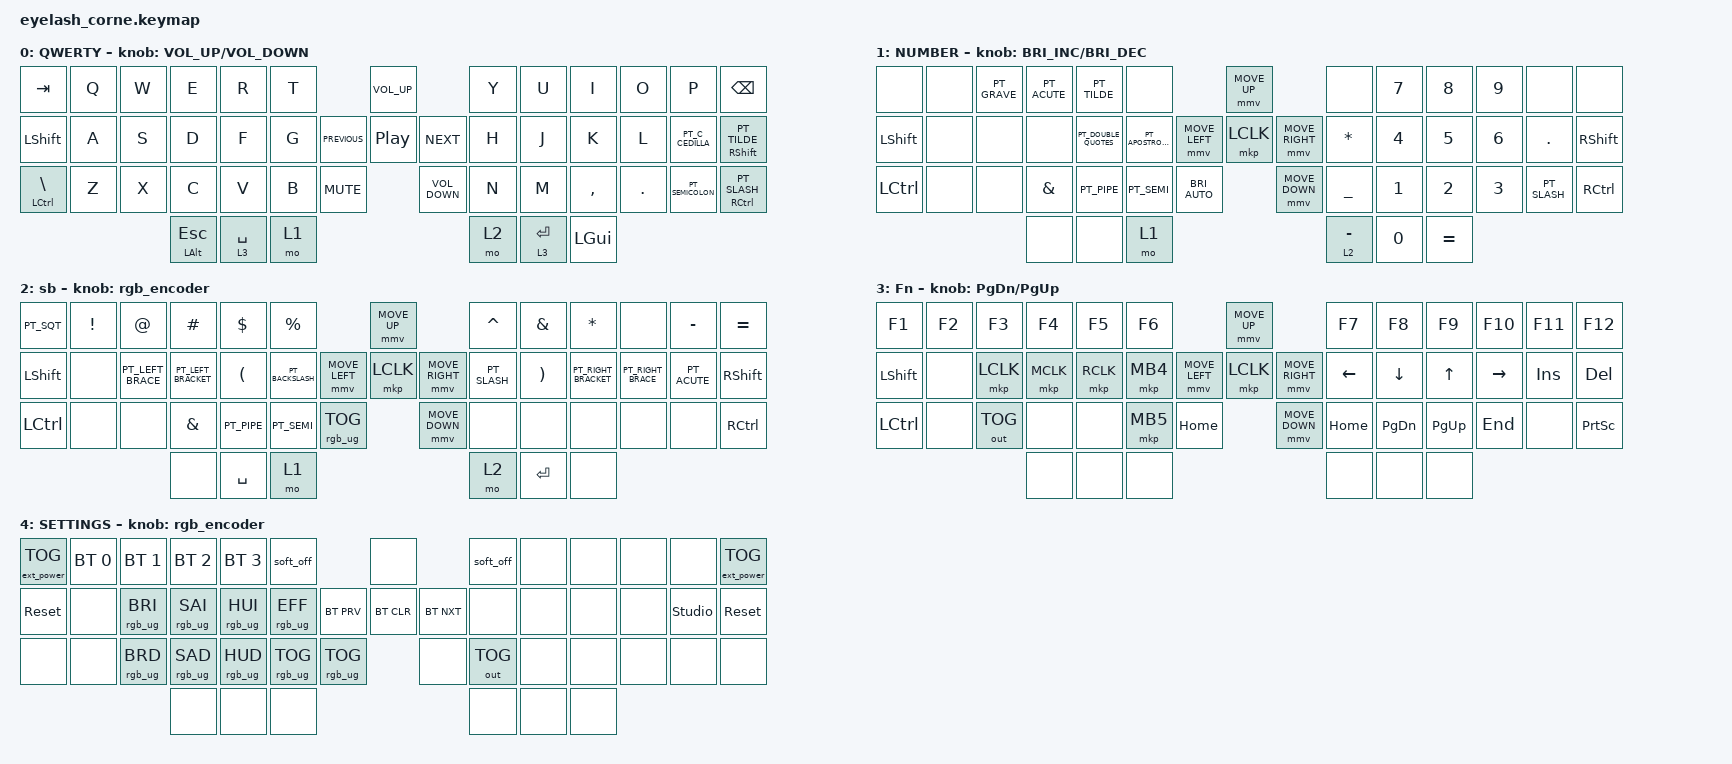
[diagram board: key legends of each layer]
#define ZMK_POINTING_DEFAULT_MOVE_VAL 1200  // 600
#define ZMK_POINTING_DEFAULT_SCRL_VAL 25   // 10

#include <input/processors.dtsi>
#include <zephyr/dt-bindings/input/input-event-codes.h>
#include <behaviors.dtsi>
#include <dt-bindings/zmk/bt.h>
#include <dt-bindings/zmk/ext_power.h>
#include <dt-bindings/zmk/keys.h>
#include <dt-bindings/zmk/outputs.h>
#include <dt-bindings/zmk/pointing.h>
#include <dt-bindings/zmk/rgb.h>
#include "keys_pt_abnt2.h"

&mmv_input_listener { input-processors = <&zip_xy_scaler 2 1>; };

&msc_input_listener { input-processors = <&zip_scroll_scaler 2 1>; };

&msc {
    acceleration-exponent = <1>;      // 0
    time-to-max-speed-ms = <100>;       // 300
    delay-ms = <0>;                   // 0
};

&mmv {
    time-to-max-speed-ms = <500>;
    acceleration-exponent = <1>;
    trigger-period-ms = <16>;
};

/ {
    behaviors {
        td0: td0 {
            compatible = "zmk,behavior-tap-dance";
            display-name = "Shift/Caps Lock Tap Dance";
            #binding-cells = <0>;
            bindings = <&kp LEFT_SHIFT>, <&kp CAPS>;
        };
    };

    rgb_encoder: rgb_encoder {
        compatible = "zmk,behavior-sensor-rotate";
        #sensor-binding-cells = <0>;
        bindings = <&rgb_ug RGB_BRI>, <&rgb_ug RGB_BRD>;
    };

    scroll_encoder: scroll_encoder {
        compatible = "zmk,behavior-sensor-rotate";
        #sensor-binding-cells = <0>;
        bindings = <&msc SCRL_DOWN>, <&msc SCRL_UP>;

        tap-ms = <100>;
    };

    combos {
        compatible = "zmk,combos";

        delete {
            bindings = <&kp DELETE>;
            key-positions = <12 11>;
        };

        DoubleQuotes {
            bindings = <&kp PT_DOUBLE_QUOTES>;
            key-positions = <0 1>;
        };

        space {
            bindings = <&kp SPACE>;
            key-positions = <33 32>;
        };
    };

    keymap {
        compatible = "zmk,keymap";

        default_layer {
            display-name = "QWERTY";
            bindings = <
&kp TAB              &kp Q  &kp W  &kp E             &kp R        &kp T                                &kp C_VOLUME_UP                &kp Y  &kp U        &kp I         &kp O    &kp P             &kp BACKSPACE
&kp LEFT_SHIFT       &kp A  &kp S  &kp D             &kp F        &kp G                &kp C_PREVIOUS  &kp C_PLAY_PAUSE   &kp C_NEXT  &kp H  &kp J        &kp K         &kp L    &kp PT_C_CEDILLA  &mt RIGHT_SHIFT PT_TILDE
&mt LCTRL BACKSLASH  &kp Z  &kp X  &kp C             &kp V        &kp B  &kp K_MUTE                    &kp C_VOLUME_DOWN              &kp N  &kp M        &kp COMMA     &kp DOT  &kp PT_SEMICOLON  &mt RCTRL PT_SLASH
                                   &mt LEFT_ALT ESC  &lt 3 SPACE  &mo 1                                                               &mo 2  &lt 3 ENTER  &kp LEFT_GUI
            >;

            // sensor-bindings = <&inc_dec_kp C_VOLUME_UP C_VOLUME_DOWN>;

            sensor-bindings = <&inc_dec_kp C_VOLUME_UP C_VOLUME_DOWN>;
        };

        number {
            display-name = "NUMBER";
            bindings = <
&none      &none  &kp PT_GRAVE  &kp PT_ACUTE  &kp PT_TILDE          &none                                                       &mmv MOVE_UP                     &none        &kp N7        &kp N8     &kp N9  &none         &none
&kp LSHFT  &none  &none         &none         &kp PT_DOUBLE_QUOTES  &kp PT_APOSTROPHE                           &mmv MOVE_LEFT  &mkp LCLK       &mmv MOVE_RIGHT  &kp ASTRK    &kp N4        &kp N5     &kp N6  &kp DOT       &kp RIGHT_SHIFT
&kp LCTRL  &none  &none         &kp AMPS      &kp PT_PIPE           &kp PT_SEMI        &kp C_BRIGHTNESS_AUTO                    &mmv MOVE_DOWN                   &kp UNDER    &kp N1        &kp N2     &kp N3  &kp PT_SLASH  &kp RCTRL
                                &none         &none                 &mo 1                                                                                        &lt 2 MINUS  &kp NUMBER_0  &kp EQUAL
            >;

            sensor-bindings = <&inc_dec_kp C_BRIGHTNESS_INC C_BRIGHTNESS_DEC>;
            label = "nb";
        };

        symbol {
            display-name = "sb";
            bindings = <
&kp PT_SQT        &kp EXCL  &kp AT             &kp HASH             &kp DLLR              &kp PRCNT                                            &mmv MOVE_UP                     &kp CARET     &kp AMPS               &kp ASTRK             &none               &kp MINUS     &kp EQUAL
&kp LEFT_SHIFT    &none     &kp PT_LEFT_BRACE  &kp PT_LEFT_BRACKET  &kp LEFT_PARENTHESIS  &kp PT_BACKSLASH                     &mmv MOVE_LEFT  &mkp LCLK       &mmv MOVE_RIGHT  &kp PT_SLASH  &kp RIGHT_PARENTHESIS  &kp PT_RIGHT_BRACKET  &kp PT_RIGHT_BRACE  &kp PT_ACUTE  &kp RIGHT_SHIFT
&kp LEFT_CONTROL  &none     &none              &kp AMPS             &kp PT_PIPE           &kp PT_SEMI       &rgb_ug RGB_TOG                    &mmv MOVE_DOWN                   &none         &none                  &none                 &none               &none         &kp RCTRL
                                               &none                &kp SPACE             &mo 1                                                                                 &mo 2         &kp ENTER              &none
            >;

            sensor-bindings = <&rgb_encoder>;
        };

        function {
            display-name = "Fn";
            bindings = <
&kp F1          &kp F2  &kp F3        &kp F4     &kp F5     &kp F6                                &mmv MOVE_UP                     &kp F7    &kp F8         &kp F9       &kp F10    &kp F11     &kp F12
&kp LEFT_SHIFT  &none   &mkp LCLK     &mkp MCLK  &mkp RCLK  &mkp MB4              &mmv MOVE_LEFT  &mkp LCLK       &mmv MOVE_RIGHT  &kp LEFT  &kp DOWN       &kp UP       &kp RIGHT  &kp INSERT  &kp DELETE
&kp LCTRL       &none   &out OUT_TOG  &none      &none      &mkp MB5  &kp HOME                    &mmv MOVE_DOWN                   &kp HOME  &kp PAGE_DOWN  &kp PAGE_UP  &kp END    &none       &kp PRINTSCREEN
                                      &none      &none      &none                                                                  &none     &none          &none
            >;

            sensor-bindings = <&inc_dec_kp PAGE_DOWN PAGE_UP>;
        };

        settings {
            bindings = <
&ext_power EP_TOG  &bt BT_SEL 0  &bt BT_SEL 1     &bt BT_SEL 2     &bt BT_SEL 3     &soft_off                                       &none                   &soft_off     &none  &none  &none  &none           &ext_power EP_TOG
&sys_reset         &none         &rgb_ug RGB_BRI  &rgb_ug RGB_SAI  &rgb_ug RGB_HUI  &rgb_ug RGB_EFF                     &bt BT_PRV  &bt BT_CLR  &bt BT_NXT  &none         &none  &none  &none  &studio_unlock  &sys_reset
&none              &none         &rgb_ug RGB_BRD  &rgb_ug RGB_SAD  &rgb_ug RGB_HUD  &rgb_ug RGB_TOG  &rgb_ug RGB_TOG                &none                   &out OUT_TOG  &none  &none  &none  &none           &none
                                                  &none            &none            &none                                                                   &none         &none  &none
            >;

            label = "SETTINGS";
            sensor-bindings = <&rgb_encoder>;
        };
    };

    conditional_layers {
        compatible = "zmk,conditional-layers";

        settings-layer {
            if-layers = <1 2>;
            then-layer = <4>;
        };
    };
};
